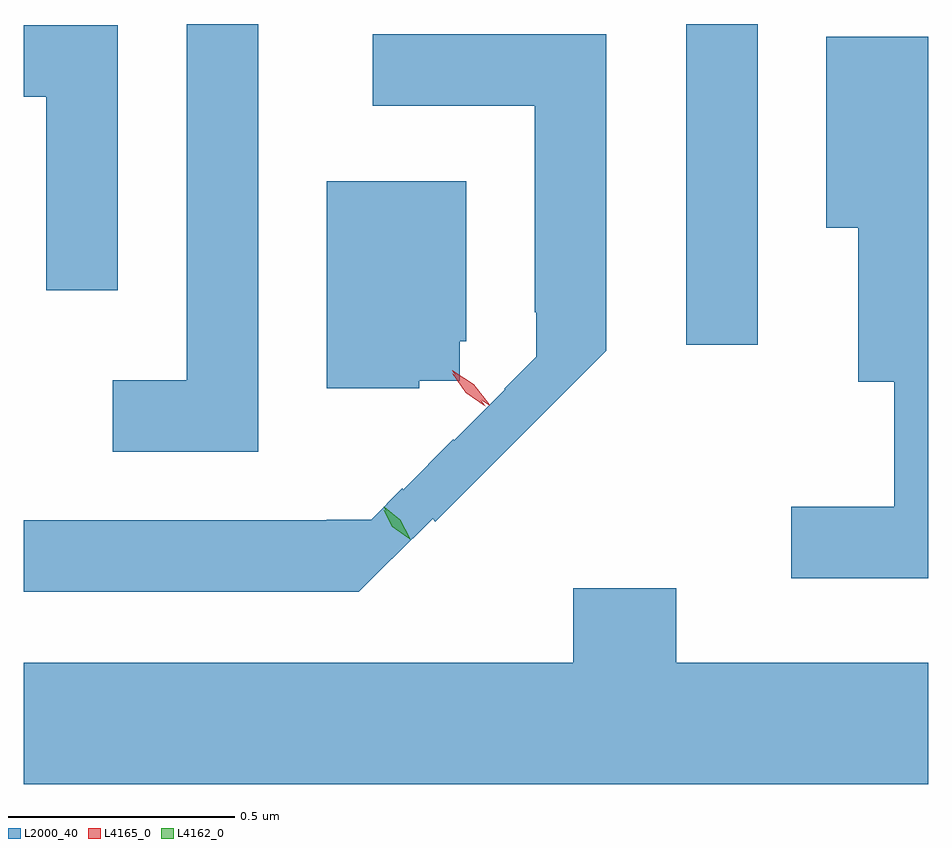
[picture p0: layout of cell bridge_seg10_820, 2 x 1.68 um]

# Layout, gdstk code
import gdstk
lib = gdstk.Library(unit=1e-6, precision=1e-09)
def R(c, l, rs):  # rectangles x0, y0, x1, y1
    for r in rs: c.add(gdstk.rectangle(r[:2], r[2:], *l))
def P(c, l, *ps):  # polygons
    for p in ps: c.add(gdstk.Polygon(p, *l))
L2000_40 = (2000, 40)
L4162_0 = (4162, 0)
L4165_0 = (4165, 0)

bridge_seg10_820 = lib.new_cell('bridge_seg10_820')
R(bridge_seg10_820, L2000_40, [(618.556,2148.188,618.714,2148.897)])
P(bridge_seg10_820, L2000_40, [(617.609,2148.897),(617.451,2148.897),(617.451,2148.109),(617.288,2148.109),(617.288,2147.951),(617.609,2147.951)],
  [(617.299,2148.894),(617.091,2148.894),(617.091,2148.736),(617.141,2148.736),(617.141,2148.308),(617.299,2148.308)],
  [(617.905,2147.714),(617.906,2147.714),(617.995,2147.803),(618.001,2147.796),(618.379,2148.174),(618.379,2148.874),(617.863,2148.874),(617.863,2148.716),(618.221,2148.716),(618.221,2148.259),(618.224,2148.259),(618.224,2148.161),(618.153,2148.09),(618.155,2148.088),(618.043,2147.976),(618.041,2147.978),(617.93,2147.867),(617.928,2147.87),(617.859,2147.801),(617.761,2147.801),(617.761,2147.799),(617.091,2147.799),(617.091,2147.641),(617.832,2147.641)],
  [(619.091,2148.869),(618.866,2148.869),(618.866,2148.446),(618.936,2148.446),(618.936,2148.106),(619.016,2148.106),(619.016,2147.829),(618.788,2147.829),(618.788,2147.671),(619.091,2147.671)],
  [(617.965,2148.108),(618.055,2148.108),(618.055,2148.195),(618.069,2148.195),(618.069,2148.549),(617.761,2148.549),(617.761,2148.091),(617.965,2148.091)],
  [(619.091,2147.484),(618.534,2147.484),(618.534,2147.649),(618.306,2147.649),(618.306,2147.484),(617.091,2147.484),(617.091,2147.216),(619.091,2147.216)])
P(bridge_seg10_820, L4162_0, [(617.945,2147.757),(617.909,2147.787),(617.887,2147.829),(617.887,2147.829),(617.888,2147.829),(617.924,2147.8),(617.946,2147.758),(617.946,2147.757)],
  [(617.94,2147.761),(617.906,2147.785),(617.887,2147.821),(617.887,2147.822),(617.888,2147.822),(617.922,2147.798),(617.94,2147.762),(617.94,2147.761)])
P(bridge_seg10_820, L4165_0, [(618.12,2148.054),(618.073,2148.085),(618.038,2148.13),(618.038,2148.131),(618.039,2148.131),(618.086,2148.1),(618.121,2148.055),(618.121,2148.054)],
  [(618.111,2148.051),(618.068,2148.081),(618.038,2148.124),(618.038,2148.125),(618.038,2148.125),(618.082,2148.095),(618.112,2148.052),(618.112,2148.051)])

lib.write_gds('bridge_seg10_820.gds')
